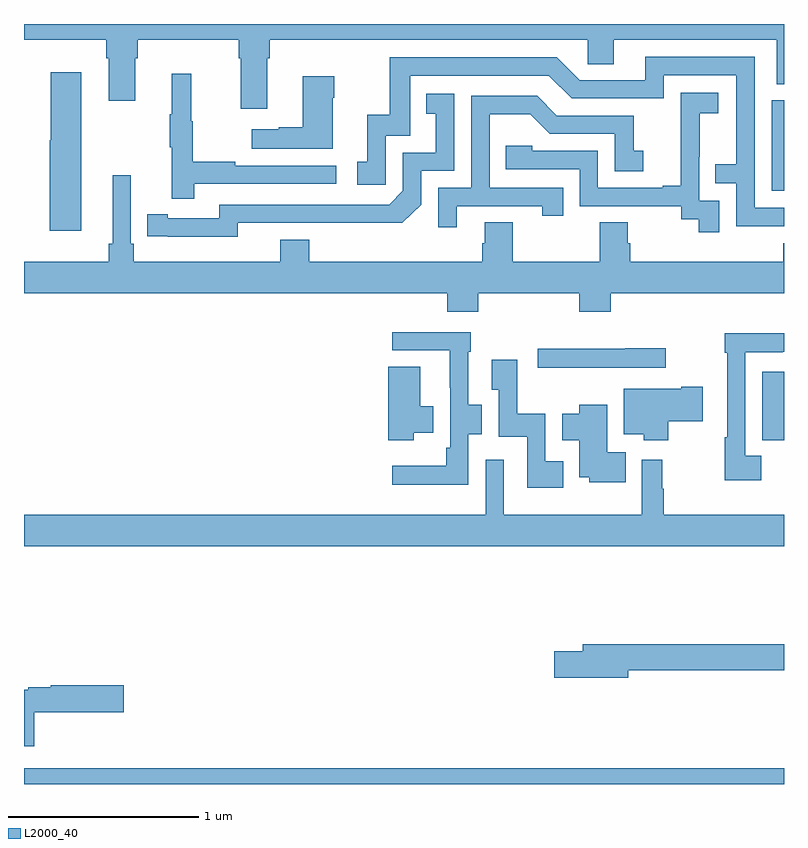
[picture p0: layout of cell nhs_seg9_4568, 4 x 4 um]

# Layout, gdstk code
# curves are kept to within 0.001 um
import gdstk
lib = gdstk.Library(unit=1e-6, precision=1e-09)
def R(c, l, rs):  # rectangles x0, y0, x1, y1
    for r in rs: c.add(gdstk.rectangle(r[:2], r[2:], *l))
def P(c, l, *ps):  # polygons
    for p in ps: c.add(gdstk.Polygon(p, *l))
L2000_40 = (2000, 40)

nhs_seg9_4568 = lib.new_cell('nhs_seg9_4568')
R(nhs_seg9_4568, L2000_40, [(373,1196.5,377,1196.584), (376.886,1198.309,377,1198.67), (376.935,1199.622,377,1200.099)])
P(nhs_seg9_4568, L2000_40, [(374.281,1200.32),(374.294,1200.32),(374.294,1200.416),(375.966,1200.416),(375.966,1200.289),(376.105,1200.289),(376.105,1200.416),(376.961,1200.416),(376.961,1200.184),(377,1200.184),(377,1200.5),(373,1200.5),(373,1200.416),(373.433,1200.416),(373.433,1200.32),(373.445,1200.32),(373.445,1200.096),(373.585,1200.096),(373.585,1200.32),(373.598,1200.32),(373.598,1200.416),(374.129,1200.416),(374.129,1200.32),(374.141,1200.32),(374.141,1200.054),(374.281,1200.054)],
  [(377,1199.532),(376.845,1199.532),(376.845,1200.327),(376.271,1200.327),(376.271,1200.204),(375.924,1200.204),(375.804,1200.324),(374.925,1200.324),(374.925,1200.022),(374.807,1200.022),(374.807,1199.775),(374.754,1199.775),(374.754,1199.655),(374.904,1199.655),(374.904,1199.913),(375.033,1199.913),(375.033,1200.228),(375.762,1200.228),(375.882,1200.108),(376.368,1200.108),(376.368,1200.231),(376.749,1200.231),(376.749,1199.762),(376.639,1199.762),(376.639,1199.661),(376.749,1199.661),(376.749,1199.436),(377,1199.436)],
  [(373.3,1200.247),(373.142,1200.247),(373.142,1199.889),(373.136,1199.889),(373.136,1199.412),(373.3,1199.412)],
  [(373.895,1199.658),(374.644,1199.658),(374.644,1199.754),(374.111,1199.754),(374.111,1199.774),(373.888,1199.774),(373.888,1199.988),(373.88,1199.988),(373.88,1200.238),(373.778,1200.238),(373.778,1200.025),(373.767,1200.025),(373.767,1199.851),(373.778,1199.851),(373.778,1199.58),(373.895,1199.58)],
  [(374.626,1200.113),(374.634,1200.113),(374.634,1200.226),(374.468,1200.226),(374.468,1199.957),(374.342,1199.957),(374.342,1199.947),(374.199,1199.947),(374.199,1199.843),(374.626,1199.843)],
  [(376.659,1199.571),(376.554,1199.571),(376.554,1199.801),(376.556,1199.801),(376.556,1200.029),(376.654,1200.029),(376.654,1200.139),(376.456,1200.139),(376.456,1199.933),(376.457,1199.933),(376.457,1199.65),(376.361,1199.65),(376.361,1199.637),(376.02,1199.637),(376.02,1199.832),(375.675,1199.832),(375.675,1199.859),(375.535,1199.859),(375.535,1199.736),(375.924,1199.736),(375.924,1199.541),(376.458,1199.541),(376.458,1199.473),(376.551,1199.473),(376.551,1199.403),(376.659,1199.403)],
  [(374.124,1199.454),(374.992,1199.453),(375.09,1199.55),(375.09,1199.727),(375.264,1199.727),(375.264,1200.133),(375.118,1200.133),(375.118,1200.027),(375.167,1200.027),(375.167,1199.823),(374.994,1199.823),(374.994,1199.622),(374.922,1199.55),(374.028,1199.55),(374.028,1199.478),(373.756,1199.478),(373.756,1199.498),(373.648,1199.498),(373.648,1199.382),(374.124,1199.381)],
  [(375.277,1199.541),(375.728,1199.541),(375.728,1199.49),(375.839,1199.49),(375.839,1199.637),(375.45,1199.637),(375.45,1200.026),(375.664,1200.026),(375.768,1199.922),(376.11,1199.922),(376.11,1199.724),(376.258,1199.724),(376.258,1199.833),(376.209,1199.833),(376.209,1200.018),(375.805,1200.018),(375.7,1200.123),(375.354,1200.123),(375.354,1199.637),(375.18,1199.637),(375.18,1199.43),(375.277,1199.43)],
  [(377,1199.347),(376.997,1199.347),(376.997,1199.248),(376.19,1199.248),(376.19,1199.346),(376.177,1199.346),(376.177,1199.456),(376.03,1199.456),(376.03,1199.248),(375.573,1199.248),(375.573,1199.456),(375.425,1199.456),(375.425,1199.346),(375.413,1199.346),(375.413,1199.248),(374.501,1199.248),(374.501,1199.365),(374.348,1199.365),(374.348,1199.248),(373.577,1199.248),(373.577,1199.344),(373.563,1199.344),(373.563,1199.704),(373.466,1199.704),(373.466,1199.344),(373.447,1199.344),(373.447,1199.248),(373,1199.248),(373,1199.084),(375.227,1199.084),(375.227,1198.985),(375.392,1198.985),(375.392,1199.084),(375.923,1199.084),(375.923,1198.985),(376.088,1198.985),(376.088,1199.084),(377,1199.084)],
  [(375.339,1198.342),(375.409,1198.342),(375.409,1198.497),(375.339,1198.497),(375.339,1198.775),(375.352,1198.775),(375.352,1198.878),(374.937,1198.878),(374.937,1198.782),(375.242,1198.782),(375.242,1198.585),(375.243,1198.585),(375.243,1198.27),(375.223,1198.27),(375.223,1198.174),(374.937,1198.174),(374.937,1198.076),(375.339,1198.076)],
  [(376.88,1198.228),(376.797,1198.228),(376.797,1198.772),(376.994,1198.772),(376.994,1198.776),(377,1198.776),(377,1198.873),(376.689,1198.873),(376.689,1198.769),(376.701,1198.769),(376.701,1198.324),(376.689,1198.324),(376.689,1198.1),(376.88,1198.1)],
  [(376.061,1198.692),(376.378,1198.692),(376.378,1198.793),(376.165,1198.793),(376.165,1198.79),(375.705,1198.79),(375.705,1198.691),(376.061,1198.691)],
  [(375.838,1198.198),(375.744,1198.198),(375.744,1198.45),(375.597,1198.45),(375.597,1198.732),(375.461,1198.732),(375.461,1198.576),(375.498,1198.576),(375.498,1198.328),(375.648,1198.328),(375.648,1198.058),(375.838,1198.058)],
  [(375.052,1198.349),(375.154,1198.349),(375.154,1198.489),(375.085,1198.489),(375.085,1198.697),(374.918,1198.697),(374.918,1198.31),(375.052,1198.31)],
  [(376.392,1198.409),(376.573,1198.409),(376.573,1198.592),(376.46,1198.592),(376.46,1198.579),(376.157,1198.579),(376.157,1198.34),(376.262,1198.34),(376.262,1198.31),(376.392,1198.31)],
  [(376.166,1198.246),(376.069,1198.246),(376.069,1198.495),(375.923,1198.495),(375.923,1198.45),(375.833,1198.45),(375.833,1198.31),(375.923,1198.31),(375.923,1198.115),(375.975,1198.115),(375.975,1198.088),(376.166,1198.088)],
  [(377,1197.916),(376.367,1197.916),(376.367,1198.053),(376.36,1198.053),(376.36,1198.207),(376.251,1198.207),(376.251,1197.916),(375.525,1197.916),(375.525,1198.207),(375.429,1198.207),(375.429,1197.916),(373,1197.916),(373,1197.752),(377,1197.752)],
  [(376.18,1197.1),(377,1197.1),(377,1197.236),(375.941,1197.236),(375.941,1197.2),(375.792,1197.2),(375.792,1197.058),(376.18,1197.058)],
  [(373.054,1196.878),(373.525,1196.878),(373.525,1197.02),(373.14,1197.02),(373.14,1197.008),(373.022,1197.008),(373.022,1196.995),(373,1196.995),(373,1196.699),(373.054,1196.699)])

lib.write_gds('nhs_seg9_4568.gds')
